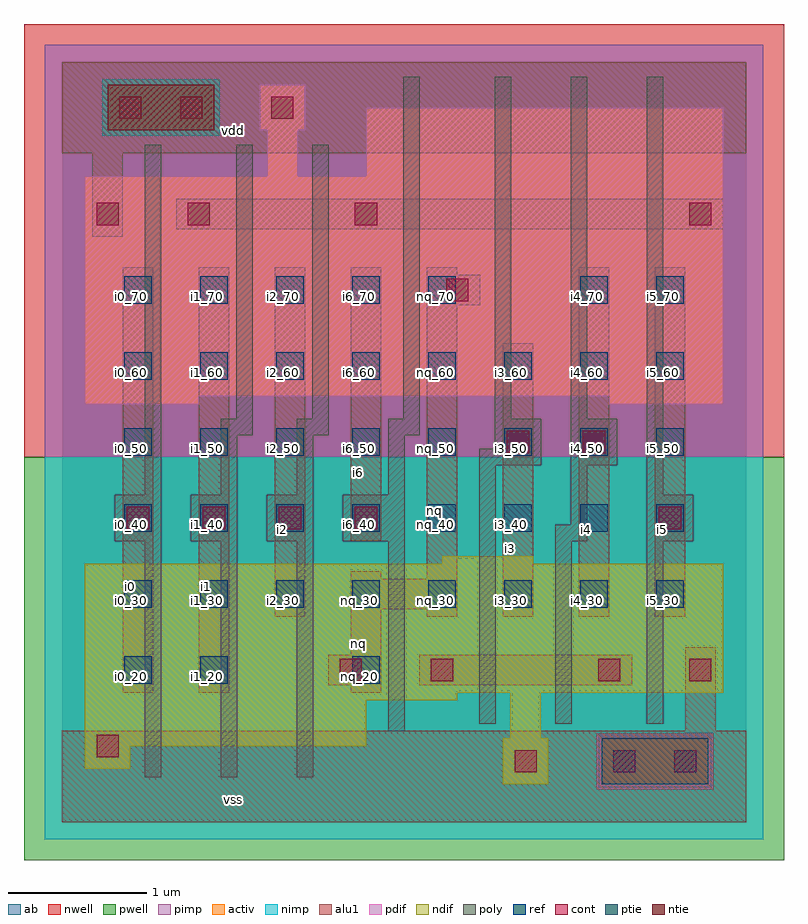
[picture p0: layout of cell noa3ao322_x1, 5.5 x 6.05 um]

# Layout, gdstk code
import gdstk
lib = gdstk.Library(unit=1e-6, precision=2.5e-09)
def R(c, l, rs):  # rectangles x0, y0, x1, y1
    for r in rs: c.add(gdstk.rectangle(r[:2], r[2:], *l))
def A(c, l, x, y, w, h, nx, ny, dx, dy):  # array of equal rectangles
    R(c, l, [(x+i*dx, y+j*dy, x+i*dx+w, y+j*dy+h) for i in range(nx) for j in range(ny)])
ndif = (3, 0)
pdif = (4, 0)
ntie = (5, 0)
ptie = (6, 0)
ref = (24, 0)
cont = (25, 0)
pwell = (41, 0)
nwell = (42, 0)
activ = (43, 0)
pimp = (44, 0)
nimp = (45, 0)
poly = (46, 0)
alu1 = (49, 0)
ab = (63, 0)

noa3ao322_x1 = lib.new_cell('noa3ao322_x1')
R(noa3ao322_x1, ndif, [(3.19,0.275,3.52,0.605), (0.165,0.385,0.495,0.55), (0.165,0.55,2.2,0.88), (3.245,0.605,3.465,0.935), (0.165,0.88,2.86,0.935), (0.165,0.935,4.785,1.87), (2.75,1.87,3.41,1.925)])
R(noa3ao322_x1, pdif, [(0.165,3.025,0.99,3.08), (3.96,3.025,4.785,3.08), (0.165,3.08,4.785,4.675), (1.485,4.675,1.705,5.005), (2.2,4.675,4.785,5.17), (1.43,5.005,1.76,5.335)])
R(noa3ao322_x1, ntie, [(0.33,5.005,1.1,5.335)])
R(noa3ao322_x1, ptie, [(3.905,0.275,4.675,0.605)])
A(noa3ao322_x1, ref, 0.45, 1.55, 0.2, 0.2, 8, 4, 0.55, 0.55)
A(noa3ao322_x1, ref, 0.45, 3.75, 0.2, 0.2, 5, 1, 0.55, 0)
R(noa3ao322_x1, ref, [(0.45,1,0.65,1.2), (1,1,1.2,1.2), (2.1,1,2.3,1.2), (3.75,3.75,3.95,3.95), (4.3,3.75,4.5,3.95)])
A(noa3ao322_x1, cont, 0.47, 2.12, 0.16, 0.16, 4, 1, 0.55, 0)
R(noa3ao322_x1, cont, [(3.275,0.36,3.435,0.52), (3.99,0.36,4.15,0.52), (4.43,0.36,4.59,0.52), (0.25,0.47,0.41,0.63), (2.01,1.02,2.17,1.18), (2.67,1.02,2.83,1.18), (3.88,1.02,4.04,1.18), (4.54,1.02,4.7,1.18), (4.32,2.12,4.48,2.28), (3.22,2.67,3.38,2.83), (3.77,2.67,3.93,2.83), (2.78,3.77,2.94,3.93), (0.25,4.32,0.41,4.48), (0.91,4.32,1.07,4.48), (2.12,4.32,2.28,4.48), (4.54,4.32,4.7,4.48), (0.415,5.09,0.575,5.25), (0.855,5.09,1.015,5.25), (1.515,5.09,1.675,5.25)])
R(noa3ao322_x1, pwell, [(-0.275,-0.275,5.225,2.64)])
R(noa3ao322_x1, nwell, [(-0.275,2.64,5.225,5.775)])
R(noa3ao322_x1, activ, [(3.19,0.275,3.52,0.605), (3.905,0.275,4.675,0.605), (0.165,0.385,0.495,0.55), (0.165,0.55,2.2,0.88), (3.245,0.605,3.465,0.935), (0.165,0.88,2.86,0.935), (0.165,0.935,4.785,1.87), (2.75,1.87,3.41,1.925), (0.165,3.025,0.99,3.08), (3.96,3.025,4.785,3.08), (0.165,3.08,4.785,4.675), (1.485,4.675,1.705,5.005), (2.2,4.675,4.785,5.17), (0.33,5.005,1.1,5.335), (1.43,5.005,1.76,5.335)])
R(noa3ao322_x1, pimp, [(3.865,0.235,4.715,0.645), (-0.125,2.64,5.075,4.965), (-0.125,4.965,0.29,5.375), (1.14,4.965,5.075,5.375), (-0.125,5.375,5.075,5.625)])
R(noa3ao322_x1, nimp, [(-0.125,-0.125,5.075,0.235), (-0.125,0.235,3.865,0.645), (4.715,0.235,5.075,0.645), (-0.125,0.645,5.075,2.64), (0.29,4.965,1.14,5.375)])
A(noa3ao322_x1, poly, 0.6, 0.325, 0.12, 1.705, 3, 1, 0.55, 0)
A(noa3ao322_x1, poly, 0.38, 2.03, 0.34, 0.34, 3, 1, 0.55, 0)
R(noa3ao322_x1, poly, [(2.36,0.655,2.48,2.03), (3.02,0.71,3.14,2.58), (3.57,0.71,3.69,2.03), (4.23,0.71,4.35,2.03), (2.03,2.03,2.48,2.37), (3.57,2.03,3.8,2.15), (4.23,2.03,4.57,2.37), (3.68,2.15,3.8,2.58), (0.6,2.37,0.72,4.9), (1.15,2.37,1.27,2.8), (1.7,2.37,1.82,2.8), (2.36,2.37,2.48,2.8), (4.23,2.37,4.35,5.395), (3.02,2.58,3.47,2.7), (3.68,2.58,4.02,2.92), (3.13,2.7,3.47,2.92), (1.15,2.8,1.38,2.92), (1.7,2.8,1.93,2.92), (2.36,2.8,2.59,2.92), (1.26,2.92,1.38,4.9), (1.81,2.92,1.93,4.9), (2.47,2.92,2.59,5.395), (3.13,2.92,3.25,5.395), (3.68,2.92,3.8,5.395)])
R(noa3ao322_x1, alu1, [(0,0,4.95,0.66), (4.51,0.66,4.73,1.265), (0.44,0.935,0.66,4.015), (0.99,0.935,1.21,4.015), (2.09,0.935,2.31,0.99), (1.925,0.99,2.31,1.21), (2.585,0.99,4.125,1.21), (2.09,1.21,2.31,1.54), (1.54,1.485,1.76,4.015), (2.64,1.485,2.86,1.54), (3.19,1.485,3.41,3.465), (3.74,1.485,3.96,4.015), (4.29,1.485,4.51,4.015), (2.09,1.54,2.86,1.76), (2.09,1.76,2.31,1.815), (2.64,1.76,2.86,3.74), (2.09,2.035,2.31,4.015), (2.64,3.74,3.025,3.96), (2.64,3.96,2.86,4.015), (0.22,4.235,0.44,4.84), (0.825,4.29,4.785,4.51), (0,4.84,4.95,5.5)])
R(noa3ao322_x1, ab, [(0,0,4.95,5.5)])
noa3ao322_x1.add(gdstk.Label('vss', (1.2375,0.165), layer=49, texttype=0))
noa3ao322_x1.add(gdstk.Label('i5', (4.345,2.1175), layer=49, texttype=0))
noa3ao322_x1.add(gdstk.Label('i4', (3.795,2.1175), layer=49, texttype=0))
noa3ao322_x1.add(gdstk.Label('i3', (3.245,1.98), layer=49, texttype=0))
noa3ao322_x1.add(gdstk.Label('nq', (2.145,1.2925), layer=49, texttype=0))
noa3ao322_x1.add(gdstk.Label('nq', (2.695,2.255), layer=49, texttype=0))
noa3ao322_x1.add(gdstk.Label('i6', (2.145,2.53), layer=49, texttype=0))
noa3ao322_x1.add(gdstk.Label('i2', (1.595,2.1175), layer=49, texttype=0))
noa3ao322_x1.add(gdstk.Label('i1', (1.045,1.705), layer=49, texttype=0))
noa3ao322_x1.add(gdstk.Label('i0', (0.495,1.705), layer=49, texttype=0))
noa3ao322_x1.add(gdstk.Label('vdd', (1.2375,5.005), layer=49, texttype=0))
noa3ao322_x1.add(gdstk.Label('nq_30', (2.15,1.6), layer=24, texttype=0))
noa3ao322_x1.add(gdstk.Label('i1_20', (1.05,1.05), layer=24, texttype=0))
noa3ao322_x1.add(gdstk.Label('i1_30', (1.05,1.6), layer=24, texttype=0))
noa3ao322_x1.add(gdstk.Label('i1_40', (1.05,2.15), layer=24, texttype=0))
noa3ao322_x1.add(gdstk.Label('i1_50', (1.05,2.7), layer=24, texttype=0))
noa3ao322_x1.add(gdstk.Label('i1_60', (1.05,3.25), layer=24, texttype=0))
noa3ao322_x1.add(gdstk.Label('i1_70', (1.05,3.8), layer=24, texttype=0))
noa3ao322_x1.add(gdstk.Label('i2_30', (1.6,1.6), layer=24, texttype=0))
noa3ao322_x1.add(gdstk.Label('i2_40', (1.6,2.15), layer=24, texttype=0))
noa3ao322_x1.add(gdstk.Label('i2_50', (1.6,2.7), layer=24, texttype=0))
noa3ao322_x1.add(gdstk.Label('i2_60', (1.6,3.25), layer=24, texttype=0))
noa3ao322_x1.add(gdstk.Label('i2_70', (1.6,3.8), layer=24, texttype=0))
noa3ao322_x1.add(gdstk.Label('nq_20', (2.15,1.05), layer=24, texttype=0))
noa3ao322_x1.add(gdstk.Label('i6_40', (2.15,2.15), layer=24, texttype=0))
noa3ao322_x1.add(gdstk.Label('i6_50', (2.15,2.7), layer=24, texttype=0))
noa3ao322_x1.add(gdstk.Label('i6_60', (2.15,3.25), layer=24, texttype=0))
noa3ao322_x1.add(gdstk.Label('i6_70', (2.15,3.8), layer=24, texttype=0))
noa3ao322_x1.add(gdstk.Label('nq_30', (2.7,1.6), layer=24, texttype=0))
noa3ao322_x1.add(gdstk.Label('nq_40', (2.7,2.15), layer=24, texttype=0))
noa3ao322_x1.add(gdstk.Label('nq_50', (2.7,2.7), layer=24, texttype=0))
noa3ao322_x1.add(gdstk.Label('nq_60', (2.7,3.25), layer=24, texttype=0))
noa3ao322_x1.add(gdstk.Label('nq_70', (2.7,3.8), layer=24, texttype=0))
noa3ao322_x1.add(gdstk.Label('i3_30', (3.25,1.6), layer=24, texttype=0))
noa3ao322_x1.add(gdstk.Label('i3_40', (3.25,2.15), layer=24, texttype=0))
noa3ao322_x1.add(gdstk.Label('i3_50', (3.25,2.7), layer=24, texttype=0))
noa3ao322_x1.add(gdstk.Label('i3_60', (3.25,3.25), layer=24, texttype=0))
noa3ao322_x1.add(gdstk.Label('i4_30', (3.8,1.6), layer=24, texttype=0))
noa3ao322_x1.add(gdstk.Label('i4_40', (3.8,2.15), layer=24, texttype=0))
noa3ao322_x1.add(gdstk.Label('i4_50', (3.8,2.7), layer=24, texttype=0))
noa3ao322_x1.add(gdstk.Label('i4_60', (3.8,3.25), layer=24, texttype=0))
noa3ao322_x1.add(gdstk.Label('i4_70', (3.8,3.8), layer=24, texttype=0))
noa3ao322_x1.add(gdstk.Label('i5_30', (4.35,1.6), layer=24, texttype=0))
noa3ao322_x1.add(gdstk.Label('i5_40', (4.35,2.15), layer=24, texttype=0))
noa3ao322_x1.add(gdstk.Label('i5_50', (4.35,2.7), layer=24, texttype=0))
noa3ao322_x1.add(gdstk.Label('i5_60', (4.35,3.25), layer=24, texttype=0))
noa3ao322_x1.add(gdstk.Label('i5_70', (4.35,3.8), layer=24, texttype=0))
noa3ao322_x1.add(gdstk.Label('i0_20', (0.5,1.05), layer=24, texttype=0))
noa3ao322_x1.add(gdstk.Label('i0_30', (0.5,1.6), layer=24, texttype=0))
noa3ao322_x1.add(gdstk.Label('i0_40', (0.5,2.15), layer=24, texttype=0))
noa3ao322_x1.add(gdstk.Label('i0_50', (0.5,2.7), layer=24, texttype=0))
noa3ao322_x1.add(gdstk.Label('i0_60', (0.5,3.25), layer=24, texttype=0))
noa3ao322_x1.add(gdstk.Label('i0_70', (0.5,3.8), layer=24, texttype=0))

lib.write_gds('noa3ao322_x1.gds')
